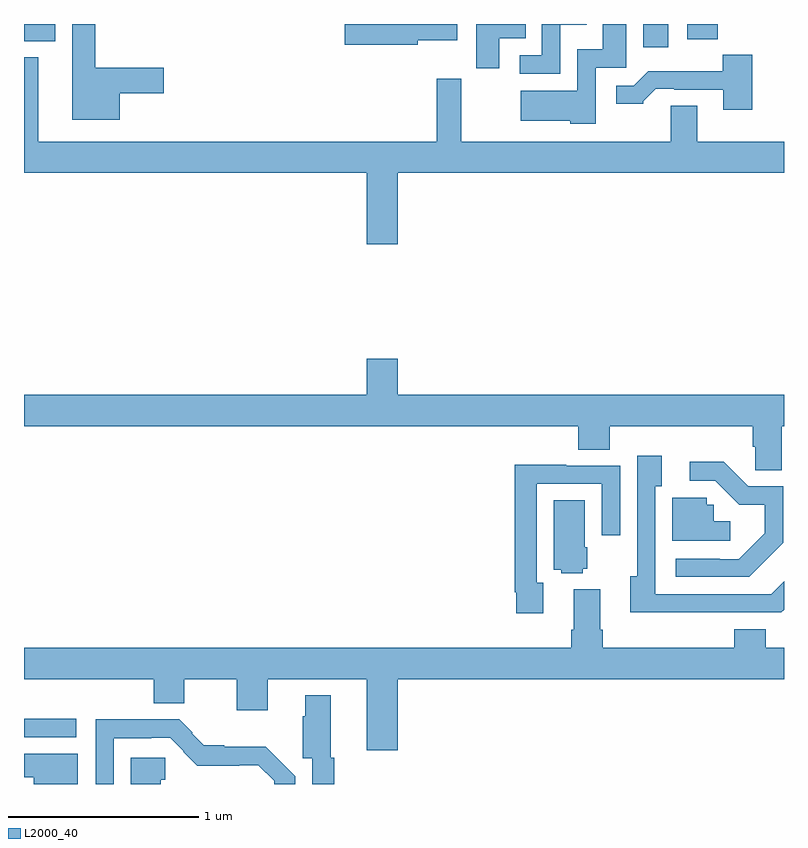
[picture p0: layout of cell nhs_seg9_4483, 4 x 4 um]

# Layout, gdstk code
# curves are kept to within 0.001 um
import gdstk
lib = gdstk.Library(unit=1e-6, precision=1e-09)
def R(c, l, rs):  # rectangles x0, y0, x1, y1
    for r in rs: c.add(gdstk.rectangle(r[:2], r[2:], *l))
def P(c, l, *ps):  # polygons
    for p in ps: c.add(gdstk.Polygon(p, *l))
L2000_40 = (2000, 40)

nhs_seg9_4483 = lib.new_cell('nhs_seg9_4483')
R(nhs_seg9_4483, L2000_40, [(367,1230.747,367.276,1230.843), (370.259,1234.377,370.39,1234.5), (367,1234.409,367.165,1234.5), (370.49,1234.421,370.652,1234.5)])
P(nhs_seg9_4483, L2000_40, [(367.504,1234.136),(367.735,1234.136),(367.735,1234.271),(367.375,1234.271),(367.375,1234.5),(367.253,1234.5),(367.253,1233.995),(367.504,1233.995)],
  [(370.008,1234.269),(370.171,1234.269),(370.171,1234.5),(370.046,1234.5),(370.046,1234.366),(369.912,1234.366),(369.912,1234.15),(369.615,1234.15),(369.615,1233.992),(369.876,1233.992),(369.876,1233.974),(370.008,1233.974)],
  [(369.072,1234.415),(369.28,1234.415),(369.28,1234.5),(368.688,1234.5),(368.688,1234.391),(369.072,1234.391)],
  [(369.502,1234.424),(369.641,1234.424),(369.641,1234.5),(369.38,1234.5),(369.38,1234.266),(369.502,1234.266)],
  [(369.822,1234.496),(369.961,1234.496),(369.961,1234.5),(369.726,1234.5),(369.726,1234.335),(369.609,1234.335),(369.609,1234.239),(369.822,1234.239)],
  [(370.832,1234.339),(370.677,1234.339),(370.677,1234.252),(370.285,1234.252),(370.209,1234.176),(370.116,1234.176),(370.116,1234.079),(370.26,1234.079),(370.26,1234.094),(370.324,1234.158),(370.423,1234.158),(370.423,1234.155),(370.679,1234.155),(370.679,1234.05),(370.832,1234.05)],
  [(371,1233.88),(370.543,1233.88),(370.543,1234.07),(370.403,1234.07),(370.403,1233.88),(369.301,1233.88),(369.301,1234.213),(369.172,1234.213),(369.172,1233.88),(367.075,1233.88),(367.075,1234.324),(367,1234.324),(367,1233.716),(368.804,1233.716),(368.804,1233.342),(368.968,1233.342),(368.968,1233.716),(371,1233.716)],
  [(370.987,1232.384),(371,1232.384),(371,1232.548),(368.968,1232.548),(368.968,1232.737),(368.804,1232.737),(368.804,1232.548),(367,1232.548),(367,1232.384),(369.917,1232.384),(369.917,1232.26),(370.082,1232.26),(370.082,1232.384),(370.835,1232.384),(370.835,1232.274),(370.849,1232.274),(370.849,1232.152),(370.987,1232.152)],
  [(370.655,1231.404),(370.986,1231.404),(371,1231.418),(371,1231.568),(370.932,1231.5),(370.323,1231.5),(370.323,1232.066),(370.357,1232.066),(370.357,1232.227),(370.227,1232.227),(370.227,1231.594),(370.19,1231.594),(370.19,1231.403)],
  [(370.995,1231.769),(370.995,1232.067),(370.812,1232.067),(370.684,1232.195),(370.503,1232.195),(370.503,1232.097),(370.638,1232.097),(370.765,1231.97),(370.898,1231.97),(370.898,1231.82),(370.761,1231.683),(370.661,1231.683),(370.661,1231.686),(370.431,1231.686),(370.431,1231.59),(370.816,1231.59)],
  [(369.733,1231.559),(369.699,1231.559),(369.699,1232.079),(370.041,1232.079),(370.041,1231.809),(370.137,1231.809),(370.137,1232.175),(369.853,1232.175),(369.853,1232.179),(369.583,1232.179),(369.583,1231.51),(369.591,1231.51),(369.591,1231.398),(369.733,1231.398)],
  [(370.717,1231.882),(370.629,1231.882),(370.629,1231.971),(370.593,1231.971),(370.593,1232.007),(370.412,1232.007),(370.412,1231.779),(370.717,1231.779)],
  [(369.942,1231.632),(369.964,1231.632),(369.964,1231.746),(369.952,1231.746),(369.952,1231.994),(369.788,1231.994),(369.788,1231.628),(369.828,1231.628),(369.828,1231.61),(369.942,1231.61)],
  [(368.968,1231.052),(371,1231.052),(371,1231.216),(370.904,1231.216),(370.904,1231.315),(370.739,1231.315),(370.739,1231.216),(370.046,1231.216),(370.046,1231.312),(370.033,1231.312),(370.033,1231.525),(369.893,1231.525),(369.893,1231.312),(369.881,1231.312),(369.881,1231.216),(367,1231.216),(367,1231.052),(367.682,1231.052),(367.682,1230.926),(367.843,1230.926),(367.843,1231.052),(368.12,1231.052),(368.12,1230.888),(368.284,1230.888),(368.284,1231.052),(368.804,1231.052),(368.804,1230.678),(368.968,1230.678)],
  [(368.633,1230.639),(368.614,1230.639),(368.614,1230.967),(368.48,1230.967),(368.48,1230.857),(368.468,1230.857),(368.468,1230.636),(368.517,1230.636),(368.517,1230.5),(368.633,1230.5)],
  [(367.473,1230.74),(367.67,1230.74),(367.67,1230.744),(367.77,1230.744),(367.842,1230.672),(367.839,1230.669),(367.913,1230.596),(368.132,1230.596),(368.132,1230.6),(368.232,1230.6),(368.316,1230.516),(368.316,1230.5),(368.428,1230.5),(368.428,1230.54),(368.273,1230.697),(368.053,1230.697),(368.053,1230.705),(367.945,1230.705),(367.883,1230.767),(367.887,1230.771),(367.817,1230.841),(367.377,1230.841),(367.377,1230.5),(367.473,1230.5)],
  [(367.282,1230.658),(367,1230.658),(367,1230.536),(367.052,1230.536),(367.052,1230.5),(367.282,1230.5)],
  [(367.72,1230.522),(367.743,1230.522),(367.743,1230.639),(367.562,1230.639),(367.562,1230.5),(367.72,1230.5)])

lib.write_gds('nhs_seg9_4483.gds')
